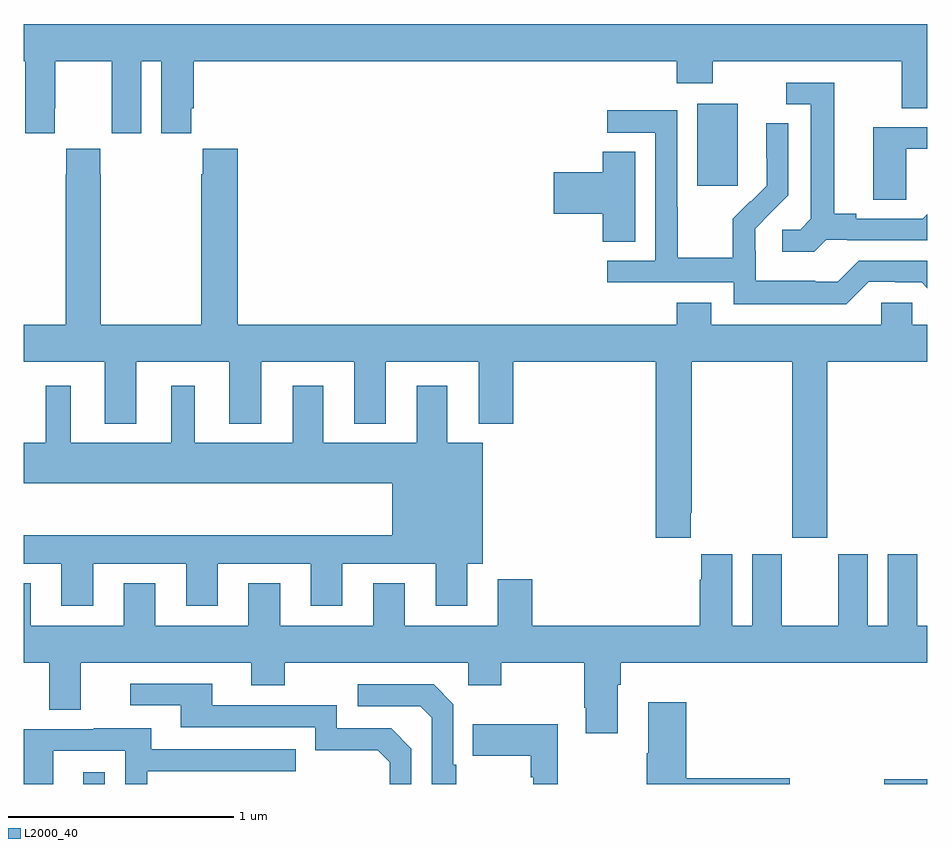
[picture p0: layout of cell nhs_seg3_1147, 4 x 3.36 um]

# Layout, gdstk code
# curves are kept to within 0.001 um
import gdstk
lib = gdstk.Library(unit=1e-6, precision=1e-09)
def R(c, l, rs):  # rectangles x0, y0, x1, y1
    for r in rs: c.add(gdstk.rectangle(r[:2], r[2:], *l))
def P(c, l, *ps):  # polygons
    for p in ps: c.add(gdstk.Polygon(p, *l))
L2000_40 = (2000, 40)

nhs_seg3_1147 = lib.new_cell('nhs_seg3_1147')
R(nhs_seg3_1147, L2000_40, [(171.263,680.4,171.36,680.452), (174.809,680.4,175,680.42), (173.981,683.049,174.16,683.41)])
P(nhs_seg3_1147, L2000_40, [(171.138,683.392),(171.139,683.392),(171.139,683.6),(171.389,683.6),(171.389,683.392),(171.39,683.392),(171.39,683.28),(171.52,683.28),(171.52,683.6),(171.608,683.6),(171.608,683.28),(171.742,683.28),(171.742,683.392),(171.752,683.392),(171.752,683.6),(173.891,683.6),(173.891,683.501),(174.051,683.501),(174.051,683.6),(174.887,683.6),(174.887,683.392),(175,683.392),(175,683.764),(171,683.764),(171,683.6),(171.008,683.6),(171.008,683.28),(171.138,683.28)],
  [(174.552,682.809),(174.646,682.809),(174.646,682.806),(175,682.806),(175,682.922),(174.98,682.902),(174.685,682.902),(174.685,682.925),(174.589,682.925),(174.589,683.505),(174.375,683.505),(174.375,683.409),(174.485,683.409),(174.485,682.901),(174.438,682.854),(174.357,682.854),(174.357,682.757),(174.5,682.757)],
  [(174.741,682.623),(174.857,682.623),(174.857,682.62),(174.975,682.62),(175,682.595),(175,682.716),(174.696,682.716),(174.603,682.623),(174.503,682.623),(174.503,682.627),(174.24,682.627),(174.24,682.761),(174.238,682.761),(174.238,682.858),(174.384,683.006),(174.384,683.324),(174.288,683.324),(174.288,683.17),(174.29,683.17),(174.29,683.048),(174.219,682.977),(174.216,682.98),(174.139,682.903),(174.139,682.729),(173.895,682.729),(173.895,682.952),(173.892,682.952),(173.892,683.382),(173.583,683.382),(173.583,683.283),(173.796,683.283),(173.796,682.716),(173.583,682.716),(173.583,682.62),(174.144,682.62),(174.144,682.523),(174.641,682.523)],
  [(174.906,683.211),(175,683.211),(175,683.307),(174.761,683.307),(174.761,682.987),(174.906,682.987)],
  [(173.953,681.601),(173.958,681.601),(173.958,682.268),(174.403,682.268),(174.403,681.489),(174.558,681.489),(174.558,682.268),(175,682.268),(175,682.432),(174.933,682.432),(174.933,682.53),(174.795,682.53),(174.795,682.432),(174.043,682.432),(174.043,682.531),(173.891,682.531),(173.891,682.432),(171.947,682.432),(171.947,683.212),(171.793,683.212),(171.793,683.099),(171.787,683.099),(171.787,682.432),(171.342,682.432),(171.342,683.099),(171.339,683.099),(171.339,683.212),(171.189,683.212),(171.189,683.099),(171.187,683.099),(171.187,682.432),(171,682.432),(171,682.268),(171.359,682.268),(171.359,681.995),(171.499,681.995),(171.499,682.268),(171.911,682.268),(171.911,681.995),(172.051,681.995),(172.051,682.268),(172.463,682.268),(172.463,681.995),(172.603,681.995),(172.603,682.268),(173.015,682.268),(173.015,681.995),(173.168,681.995),(173.168,682.268),(173.798,682.268),(173.798,681.489),(173.953,681.489)],
  [(173.707,683.198),(173.564,683.198),(173.564,683.108),(173.346,683.108),(173.346,682.925),(173.564,682.925),(173.564,682.801),(173.707,682.801)],
  [(171.307,681.374),(171.719,681.374),(171.719,681.189),(171.859,681.189),(171.859,681.374),(172.271,681.374),(172.271,681.189),(172.411,681.189),(172.411,681.374),(172.823,681.374),(172.823,681.189),(172.963,681.189),(172.963,681.374),(173.032,681.374),(173.032,681.91),(172.876,681.91),(172.876,682.162),(172.739,682.162),(172.739,681.91),(172.327,681.91),(172.327,682.162),(172.19,682.162),(172.19,681.91),(171.757,681.91),(171.757,682.162),(171.653,682.162),(171.653,681.91),(171.208,681.91),(171.208,682.162),(171.098,682.162),(171.098,681.91),(171,681.91),(171,681.731),(172.631,681.731),(172.631,681.502),(171,681.502),(171,681.374),(171.167,681.374),(171.167,681.189),(171.307,681.189)],
  [(173.629,680.84),(173.642,680.84),(173.642,680.936),(175,680.936),(175,681.1),(174.955,681.1),(174.955,681.418),(174.824,681.418),(174.824,681.1),(174.736,681.1),(174.736,681.418),(174.605,681.418),(174.605,681.1),(174.355,681.1),(174.355,681.418),(174.224,681.418),(174.224,681.1),(174.136,681.1),(174.136,681.418),(173.999,681.418),(173.999,681.305),(173.993,681.305),(173.993,681.1),(173.252,681.1),(173.252,681.307),(173.099,681.307),(173.099,681.1),(172.687,681.1),(172.687,681.289),(172.547,681.289),(172.547,681.1),(172.135,681.1),(172.135,681.289),(171.995,681.289),(171.995,681.1),(171.583,681.1),(171.583,681.289),(171.443,681.289),(171.443,681.1),(171.031,681.1),(171.031,681.289),(171,681.289),(171,680.936),(171.113,680.936),(171.113,680.728),(171.253,680.728),(171.253,680.936),(172.007,680.936),(172.007,680.837),(172.155,680.837),(172.155,680.936),(172.968,680.936),(172.968,680.837),(173.115,680.837),(173.115,680.936),(173.482,680.936),(173.482,680.737),(173.489,680.737),(173.489,680.625),(173.629,680.625)],
  [(172.716,680.556),(172.626,680.646),(172.386,680.646),(172.386,680.748),(171.835,680.748),(171.835,680.844),(171.471,680.844),(171.471,680.748),(171.695,680.748),(171.695,680.652),(172.29,680.652),(172.29,680.549),(172.567,680.549),(172.62,680.496),(172.62,680.4),(172.716,680.4)],
  [(172.915,680.485),(172.902,680.485),(172.902,680.754),(172.815,680.841),(172.479,680.841),(172.479,680.745),(172.755,680.745),(172.806,680.694),(172.806,680.4),(172.915,680.4)],
  [(174.391,680.426),(173.933,680.426),(173.933,680.761),(173.765,680.761),(173.765,680.537),(173.758,680.537),(173.758,680.4),(174.391,680.4)],
  [(173.365,680.665),(172.987,680.665),(172.987,680.525),(173.244,680.525),(173.244,680.429),(173.256,680.429),(173.256,680.4),(173.365,680.4)],
  [(171.132,680.547),(171.45,680.547),(171.45,680.4),(171.546,680.4),(171.546,680.457),(172.205,680.457),(172.205,680.553),(171.565,680.553),(171.565,680.647),(171.311,680.647),(171.311,680.643),(171,680.643),(171,680.4),(171.132,680.4)])

lib.write_gds('nhs_seg3_1147.gds')
